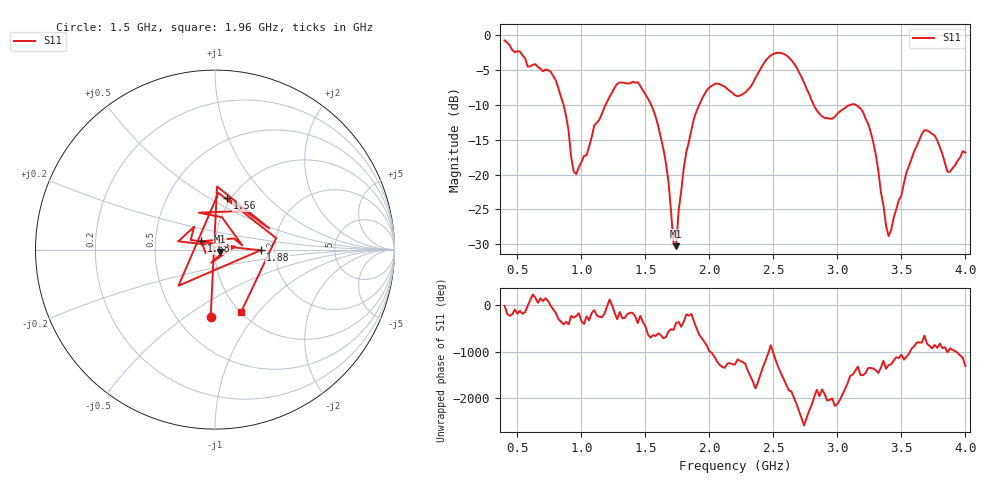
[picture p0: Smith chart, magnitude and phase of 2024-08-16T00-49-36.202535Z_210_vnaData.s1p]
!Created with skrf (http://scikit-rf.org).
# Hz S RI R 50.0
!freq ReS11 ImS11
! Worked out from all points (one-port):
!   181 points, 400 MHz to 4 GHz, reference 50 ohm
!   lowest |S11| = -30.3 dB at 1.74 GHz (marker M1), VSWR 1.06, Z = 52.9 - j1.2 ohm
!   |S11| at or under -10 dB: 861.6 MHz to 1.189 GHz (326.9 MHz wide, 31.9 % of centre); 1.545 GHz to 1.92 GHz (374.4 MHz wide, 21.6 % of centre); 3.145 GHz to end of sweep (the widest 3 of 4)
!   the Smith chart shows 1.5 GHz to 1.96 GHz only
!   S11 on the Smith chart (normalised r, x): 1.5 GHz: 0.72, -0.63; 1.56 GHz: 0.96, +0.60; 1.68 GHz: 0.85, +0.08; 1.88 GHz: 1.68, -0.01; 1.96 GHz: 1.01, -0.82
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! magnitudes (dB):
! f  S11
! 400 MHz  -0.7
! 760 MHz  -5.2
! 860 MHz  -9.9
! 940 MHz  -19.6
! 960 MHz  -19.9
! 1.3 GHz  -6.8
! 1.5 GHz  -8.5
! 1.56 GHz  -10.6
! 1.68 GHz  -21.0
! 1.72 GHz  -30.0
! 1.74 GHz  -30.3
! 1.76 GHz  -25.1
! 1.82 GHz  -16.7
! 1.88 GHz  -11.9
! 1.96 GHz  -8.5
! 2.06 GHz  -6.9
! 2.2 GHz  -8.6
! 2.5 GHz  -2.7
! 2.66 GHz  -4.0
! 2.88 GHz  -11.6
! 3.1 GHz  -10.0
! 3.26 GHz  -13.9
! 3.4 GHz  -28.9
! 3.56 GHz  -18.8
! 3.68 GHz  -13.6
! 3.76 GHz  -14.4
! 3.86 GHz  -19.6
! 4 GHz  -16.8
